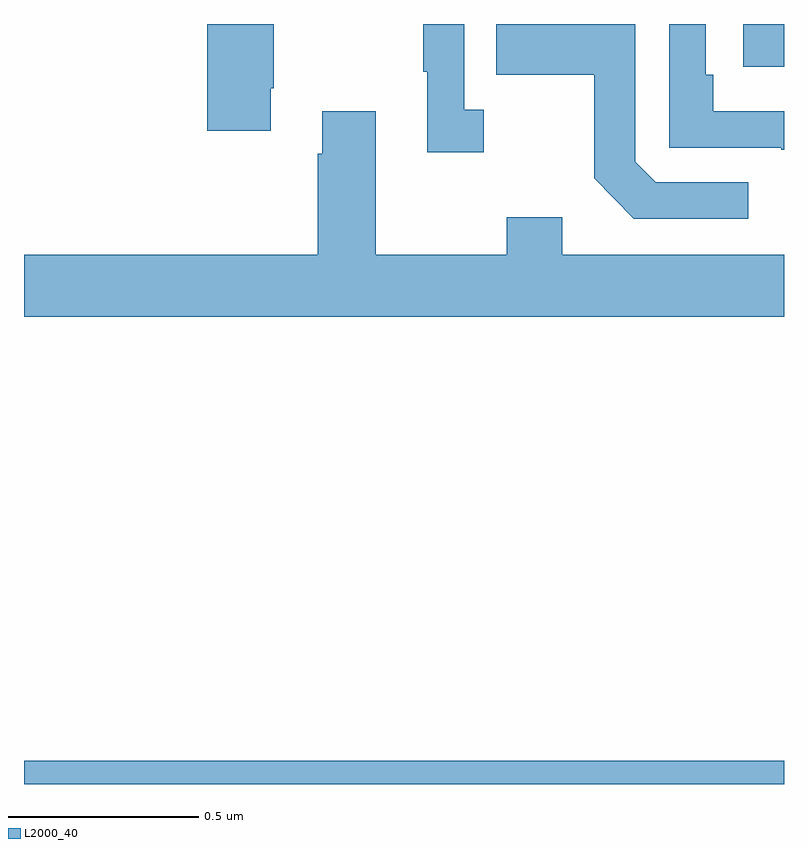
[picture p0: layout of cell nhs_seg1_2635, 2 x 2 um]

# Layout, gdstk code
import gdstk
lib = gdstk.Library(unit=1e-6, precision=1e-09)
def R(c, l, rs):  # rectangles x0, y0, x1, y1
    for r in rs: c.add(gdstk.rectangle(r[:2], r[2:], *l))
def P(c, l, *ps):  # polygons
    for p in ps: c.add(gdstk.Polygon(p, *l))
L2000_40 = (2000, 40)

nhs_seg1_2635 = lib.new_cell('nhs_seg1_2635')
R(nhs_seg1_2635, L2000_40, [(144,521.199,146,521.26), (145.893,523.086,146,523.199)])
P(nhs_seg1_2635, L2000_40, [(144.649,523.03),(144.657,523.03),(144.657,523.199),(144.482,523.199),(144.482,522.918),(144.649,522.918)],
  [(145.906,522.783),(145.662,522.783),(145.608,522.837),(145.608,523.199),(145.243,523.199),(145.243,523.066),(145.5,523.066),(145.5,522.793),(145.605,522.687),(145.906,522.687)],
  [(146,522.969),(145.814,522.969),(145.814,523.066),(145.794,523.066),(145.794,523.199),(145.698,523.199),(145.698,522.873),(145.993,522.873),(145.993,522.868),(146,522.868)],
  [(145.21,522.974),(145.158,522.974),(145.158,523.199),(145.05,523.199),(145.05,523.073),(145.061,523.073),(145.061,522.861),(145.21,522.861)],
  [(146,522.592),(145.417,522.592),(145.417,522.691),(145.27,522.691),(145.27,522.592),(144.925,522.592),(144.925,522.97),(144.785,522.97),(144.785,522.857),(144.773,522.857),(144.773,522.592),(144,522.592),(144,522.428),(146,522.428)])

lib.write_gds('nhs_seg1_2635.gds')
